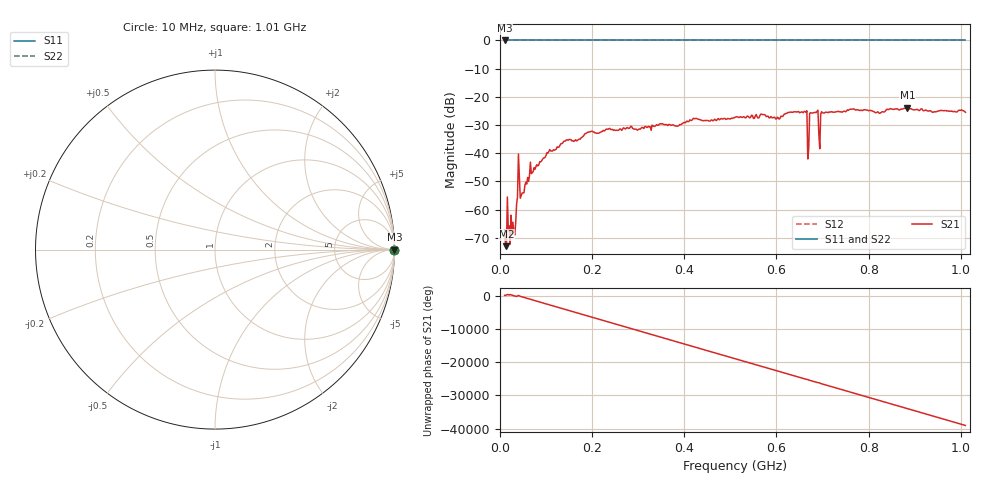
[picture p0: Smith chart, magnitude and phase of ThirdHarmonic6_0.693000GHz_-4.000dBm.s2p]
! 8/15/2025 11:08:15 PM
! C:\ANRITSUVNA\TEMP\TEMP.S2P
! CHANNEL.1
! TR.MEASUREMENT
! RAW.DATA
! RF.CORRECTION.OFF
! AVERAGING.OFF
! IF.BANDWIDTH: 5KHZ
! SWEEPTYPE:  FREQ.SWEEP(Linear)
! Reference Plane Port Info
! PORT:  PORT1  PORT2
! DISTANCE:  0  m  0  m
! TIME:  0  s  0  s
! PHASE.OFFSET:  0  deg.  0  deg.
! LOSS:  0  dB  0  dB
! REF.LOSS:  0  dB  0  dB
! REF.FREQ:  0  Hz  0  Hz
! Power Info
! POWER:  -20  dBm  -20  dBm
! EFF.POWER:  -20  dBm  -20  dBm
! SOURCE.ATTEN:  0  dB  0  dB
! TEST.ATTEN:  0  dB  0  dB
# GHZ S RI R 50.0
! FREQ.GHZ  S11RE  S11IM  S21RE  S21IM  S12RE  S12IM  S22RE  S22IM
!; PortSelection: Port_12
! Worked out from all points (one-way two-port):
!   501 points, 10 MHz to 1.01 GHz, reference 50 ohm
!   highest |S21| = -23.88 dB at 884 MHz (marker M1); lowest = -73.0 dB at 14 MHz (marker M2)
!   lowest |S11| = 0.0 dB at 10 MHz (marker M3)
!   |S11| at or under -10 dB: nowhere
!   |S22| runs from 0.0 to 0.0 dB; largest |S21 - S12| = 1.1
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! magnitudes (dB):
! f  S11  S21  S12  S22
! 10 MHz  0.0  -67.2  0.0  0.0
! 14 MHz  0.0  -73.0  0.0  0.0
! 20 MHz  0.0  -65.8  0.0  0.0
! 30 MHz  0.0  -68.2  0.0  0.0
! 34 MHz  0.0  -64.9  0.0  0.0
! 38 MHz  0.0  -55.4  0.0  0.0
! 42 MHz  0.0  -48.7  0.0  0.0
! 48 MHz  0.0  -54.2  0.0  0.0
! 64 MHz  0.0  -47.9  0.0  0.0
! 104 MHz  0.0  -39.9  0.0  0.0
! 178 MHz  0.0  -34.3  0.0  0.0
! 344 MHz  0.0  -30.1  0.0  0.0
! 510 MHz  0.0  -27.3  0.0  0.0
! 662 MHz  0.0  -25.2  0.0  0.0
! 666 MHz  0.0  -24.9  0.0  0.0
! 672 MHz  0.0  -25.9  0.0  0.0
! 678 MHz  0.0  -25.8  0.0  0.0
! 696 MHz  0.0  -26.1  0.0  0.0
! 702 MHz  0.0  -25.8  0.0  0.0
! 844 MHz  0.0  -24.5  0.0  0.0
! 884 MHz  0.0  -23.9  0.0  0.0
! 1.01 GHz  0.0  -25.5  0.0  0.0
